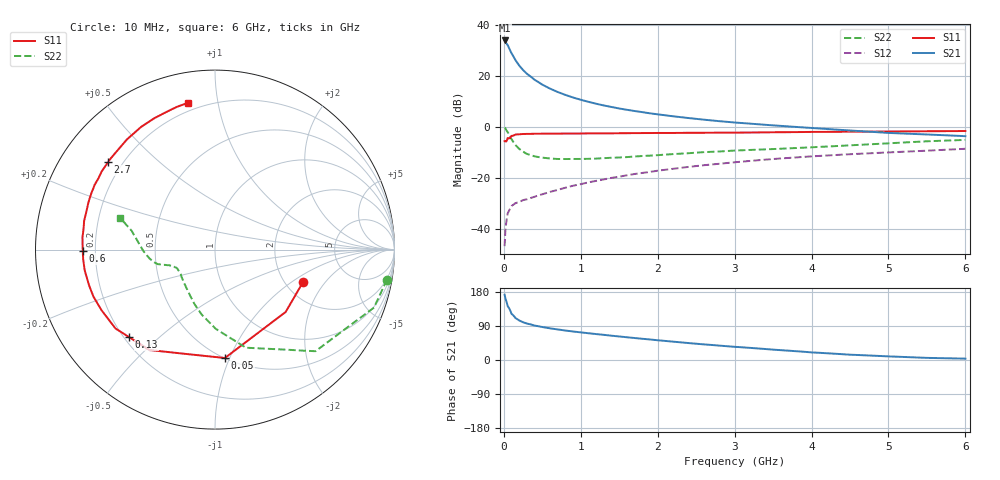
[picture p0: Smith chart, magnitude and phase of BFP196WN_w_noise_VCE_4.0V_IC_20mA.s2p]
! Infineon Technologies  Discrete & RF Semiconductors
! BFP196WN
! VCE =  4.0 V,  IC =  20 mA
! Common Emitter S-Parameters:  Jan 2017
# GHz  S  MA  R  50
!  f  S11  S21  S12  S22
! GHz  MAG  ANG  MAG  ANG  MAG  ANG  MAG  ANG
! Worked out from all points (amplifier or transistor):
!   77 points, 10 MHz to 6 GHz, reference 50 ohm
!   highest |S21| = 34.0 dB at 10 MHz (marker M1)
!   |S21| within 3 dB of that: start of sweep to 68.29 MHz
!   unconditionally stable (mu >= 1): 903 MHz to 2.697 GHz
!   at 130 MHz: K = 0.32, MSG = 29.0 dB, |S12| = -30.5 dB
!   at 2.2 GHz: K = 1.03, MAG = 9.2 dB, |S12| = -16.5 dB
!   at 6 GHz: K = 0.89, MSG = 2.5 dB, |S12| = -8.6 dB
!   lowest NFmin = 0.96 dB at 450 MHz
!   S11 on the Smith chart (normalised r, x): 10 MHz: 2.49, -1.23; 50 MHz: 0.50, -0.96; 130 MHz: 0.22, -0.40; 600 MHz: 0.15, -0.01; 2.7 GHz: 0.15, +0.35; 6 GHz: 0.15, +0.82
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0.01  0.523 -20.1  50.38 172.2  0.0045 85.5  0.9725 -9.9
0.02  0.5251 -41.4  47.89 163.0  0.0092 78.8  0.9432 -20.0
0.05  0.6066 -84.8  40.74 142.3  0.0199 58.9  0.7964 -45.3
0.1  0.6682 -123.1  28.15 121.9  0.0277 44.8  0.5731 -72.5
0.13  0.6833 -134.5  23.62 116.2  0.03 41.9  0.489 -81.6
0.15  0.7075 -141.6  20.78 111.0  0.0316 40.2  0.4418 -89.4
0.2  0.717 -152.0  16.17 104.3  0.0333 40.2  0.3699 -101.5
0.25  0.7261 -158.9  13.19 99.6  0.0363 40.2  0.3262 -110.2
0.3  0.7291 -163.9  11.13 96.2  0.0377 42.1  0.2944 -117.6
0.4  0.7352 -170.9  8.463 90.8  0.0423 44.9  0.2637 -127.8
0.5  0.7365 -175.7  6.797 87.0  0.0473 47.8  0.2487 -135.4
0.6  0.7369 -179.4  5.683 83.6  0.0526 51.1  0.2398 -141.2
0.7  0.7387 177.5  4.872 80.7  0.0577 53.8  0.2339 -144.9
0.8  0.7416 174.6  4.271 77.8  0.0636 56.3  0.2335 -147.6
1.1  0.7463 167.8  3.119 70.6  0.0812 59.1  0.2358 -153.8
1.5  0.7515 160.3  2.307 62.1  0.1049 61.1  0.2502 -158.6
2.1  0.7611 150.2  1.695 50.3  0.1438 60.5  0.2854 -162.5
2.7  0.7697 140.7  1.344 39.7  0.1824 57.9  0.3238 -165.4
3.1  0.7747 134.6  1.192 33.5  0.2079 55.4  0.3476 -168.6
4.1  0.799 119.7  0.933 19.0  0.2688 48.1  0.4043 179.8
5.1  0.8146 108.6  0.752 8.8  0.3203 40.7  0.4851 166.5
6  0.8315 100.5  0.658 3.6  0.3715 34.6  0.5559 161.8
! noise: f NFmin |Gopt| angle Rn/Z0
0.45  0.96  0.4  169  0.05
0.9  1.1  0.5  179  0.05
1.9  2.1  0.69  210  0.12
2.4  2.86  0.7  216  0.23
